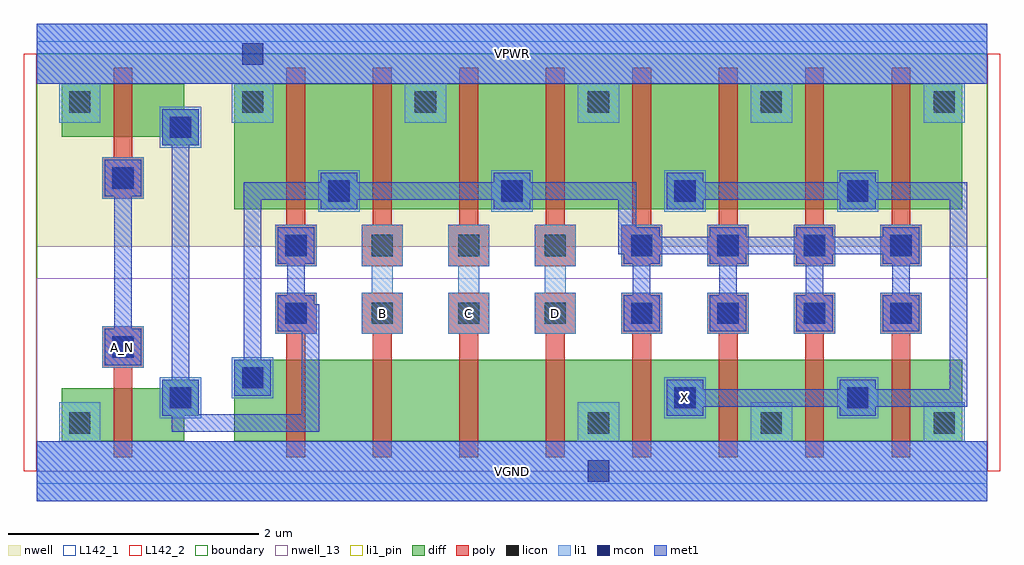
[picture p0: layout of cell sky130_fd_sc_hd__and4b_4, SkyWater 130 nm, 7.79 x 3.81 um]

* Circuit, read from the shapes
.subckt sky130_fd_sc_hd__and4b_4 A_N B C D VGND VPWR X
XM1 n1 A_N VGND VSUBS sky130_fd_pr__nfet_01v8 w=0.42 l=0.15
XM2 n2 n1 n3 VSUBS sky130_fd_pr__nfet_01v8 w=0.65 l=0.15
XM3 n4 B n2 VSUBS sky130_fd_pr__nfet_01v8 w=0.65 l=0.15
XM4 n5 C n4 VSUBS sky130_fd_pr__nfet_01v8 w=0.65 l=0.15
XM5 VGND D n5 VSUBS sky130_fd_pr__nfet_01v8 w=0.65 l=0.15
XM6 X n3 VGND VSUBS sky130_fd_pr__nfet_01v8 w=0.65 l=0.15 m=4
XM7 n1 A_N VPWR n6 sky130_fd_pr__pfet_01v8 w=0.42 l=0.15
XM8 n3 n1 VPWR n6 sky130_fd_pr__pfet_01v8 w=1 l=0.15
XM9 VPWR B n3 n6 sky130_fd_pr__pfet_01v8 w=1 l=0.15
XM10 n3 C VPWR n6 sky130_fd_pr__pfet_01v8 w=1 l=0.15
XM11 VPWR D n3 n6 sky130_fd_pr__pfet_01v8 w=1 l=0.15
XM12 X n3 VPWR n6 sky130_fd_pr__pfet_01v8 w=1 l=0.15 m=4
.ends

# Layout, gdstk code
import gdstk
lib = gdstk.Library(unit=1e-6, precision=1e-09)
def R(c, l, rs):  # rectangles x0, y0, x1, y1
    for r in rs: c.add(gdstk.rectangle(r[:2], r[2:], *l))
def A(c, l, x, y, w, h, nx, ny, dx, dy):  # array of equal rectangles
    R(c, l, [(x+i*dx, y+j*dy, x+i*dx+w, y+j*dy+h) for i in range(nx) for j in range(ny)])
def P(c, l, *ps):  # polygons
    for p in ps: c.add(gdstk.Polygon(p, *l))
nwell_13 = (64, 13)
nwell = (64, 20)
diff = (65, 20)
poly = (66, 20)
licon = (66, 44)
li1_pin = (67, 16)
li1 = (67, 20)
mcon = (67, 44)
met1 = (68, 20)
L142_1 = (142, 1)
L142_2 = (142, 2)
boundary = (235, 4)

sky130_fd_sc_hd__and4b_4 = lib.new_cell('sky130_fd_sc_hd__and4b_4')
R(sky130_fd_sc_hd__and4b_4, nwell_13, [(0,0,7.59,1.54)])
R(sky130_fd_sc_hd__and4b_4, nwell, [(0,1.79,7.59,3.33)])
A(sky130_fd_sc_hd__and4b_4, diff, 1.995, 0.24, 0.69, 0.65, 7, 1, 0.69, 0)
A(sky130_fd_sc_hd__and4b_4, diff, 1.995, 2.09, 0.69, 1, 7, 1, 0.69, 0)
R(sky130_fd_sc_hd__and4b_4, diff, [(0.2,0.24,1.18,0.66), (0.2,0.24,0.615,0.66), (1.58,0.24,7.39,0.89), (1.58,0.24,1.995,0.89), (6.825,0.24,7.39,0.89), (1.58,2.09,7.39,3.09), (1.58,2.09,1.995,3.09), (6.825,2.09,7.39,3.09), (0.2,2.67,1.18,3.09), (0.2,2.67,0.615,3.09)])
P(sky130_fd_sc_hd__and4b_4, diff, [(0.615,0.24),(0.615,0.66),(1.005,0.66),(1.005,0.73),(1.295,0.73),(1.295,0.44),(1.18,0.44),(1.18,0.24)],
  [(1.005,2.6),(1.005,2.67),(0.615,2.67),(0.615,3.09),(1.18,3.09),(1.18,2.89),(1.295,2.89),(1.295,2.6)])
P(sky130_fd_sc_hd__and4b_4, poly, [(2.685,0.11),(2.685,1.095),(2.595,1.095),(2.595,1.425),(2.925,1.425),(2.925,1.095),(2.835,1.095),(2.835,0.11)],
  [(2.595,1.635),(2.595,1.965),(2.685,1.965),(2.685,3.22),(2.835,3.22),(2.835,1.965),(2.925,1.965),(2.925,1.635)],
  [(4.755,0.11),(4.755,1.095),(4.665,1.095),(4.665,1.425),(4.995,1.425),(4.995,1.095),(4.905,1.095),(4.905,0.11)],
  [(5.445,0.11),(5.445,1.095),(5.355,1.095),(5.355,1.425),(5.685,1.425),(5.685,1.095),(5.595,1.095),(5.595,0.11)],
  [(6.135,0.11),(6.135,1.095),(6.045,1.095),(6.045,1.425),(6.375,1.425),(6.375,1.095),(6.285,1.095),(6.285,0.11)],
  [(6.825,0.11),(6.825,1.095),(6.735,1.095),(6.735,1.425),(7.065,1.425),(7.065,1.095),(6.975,1.095),(6.975,0.11)],
  [(4.665,1.635),(4.665,1.965),(4.755,1.965),(4.755,3.22),(4.905,3.22),(4.905,1.965),(4.995,1.965),(4.995,1.635)],
  [(5.355,1.635),(5.355,1.965),(5.445,1.965),(5.445,3.22),(5.595,3.22),(5.595,1.965),(5.685,1.965),(5.685,1.635)],
  [(6.045,1.635),(6.045,1.965),(6.135,1.965),(6.135,3.22),(6.285,3.22),(6.285,1.965),(6.375,1.965),(6.375,1.635)],
  [(6.735,1.635),(6.735,1.965),(6.825,1.965),(6.825,3.22),(6.975,3.22),(6.975,1.965),(7.065,1.965),(7.065,1.635)],
  [(4.065,0.11),(4.065,1.095),(3.975,1.095),(3.975,1.425),(4.305,1.425),(4.305,1.095),(4.215,1.095),(4.215,0.11)],
  [(3.975,1.635),(3.975,1.965),(4.065,1.965),(4.065,3.22),(4.215,3.22),(4.215,1.965),(4.305,1.965),(4.305,1.635)],
  [(0.615,0.11),(0.615,0.825),(0.525,0.825),(0.525,1.155),(0.855,1.155),(0.855,0.825),(0.765,0.825),(0.765,0.11)],
  [(0.525,2.175),(0.525,2.505),(0.615,2.505),(0.615,3.22),(0.765,3.22),(0.765,2.505),(0.855,2.505),(0.855,2.175)],
  [(3.375,0.11),(3.375,1.095),(3.285,1.095),(3.285,1.425),(3.615,1.425),(3.615,1.095),(3.525,1.095),(3.525,0.11)],
  [(3.285,1.635),(3.285,1.965),(3.375,1.965),(3.375,3.22),(3.525,3.22),(3.525,1.965),(3.615,1.965),(3.615,1.635)],
  [(1.995,0.11),(1.995,1.095),(1.905,1.095),(1.905,1.425),(2.235,1.425),(2.235,1.095),(2.145,1.095),(2.145,0.11)],
  [(1.905,1.635),(1.905,1.965),(1.995,1.965),(1.995,3.22),(2.145,3.22),(2.145,1.965),(2.235,1.965),(2.235,1.635)])
A(sky130_fd_sc_hd__and4b_4, licon, 4.4, 0.3, 0.17, 0.17, 3, 1, 1.38, 0)
A(sky130_fd_sc_hd__and4b_4, licon, 1.985, 1.175, 0.17, 0.17, 8, 2, 0.69, 0.54)
A(sky130_fd_sc_hd__and4b_4, licon, 2.33, 2.15, 0.17, 0.17, 4, 1, 1.38, 0)
A(sky130_fd_sc_hd__and4b_4, licon, 0.26, 2.86, 0.17, 0.17, 6, 1, 1.38, 0)
R(sky130_fd_sc_hd__and4b_4, licon, [(0.26,0.3,0.43,0.47), (1.065,0.5,1.235,0.67), (5.09,0.5,5.26,0.67), (6.47,0.5,6.64,0.67), (1.64,0.66,1.81,0.83), (0.605,0.905,0.775,1.075), (0.605,2.255,0.775,2.425), (1.065,2.66,1.235,2.83)])
R(sky130_fd_sc_hd__and4b_4, li1_pin, [(0,-0.24,7.59,0.24), (5.01,0.42,5.34,0.75), (0.525,0.825,0.855,1.155), (0,3.09,7.59,3.57)])
P(sky130_fd_sc_hd__and4b_4, li1_pin, [(2.595,1.095),(2.595,1.425),(2.675,1.425),(2.675,1.635),(2.595,1.635),(2.595,1.965),(2.925,1.965),(2.925,1.635),(2.845,1.635),(2.845,1.425),(2.925,1.425),(2.925,1.095)],
  [(3.285,1.095),(3.285,1.425),(3.365,1.425),(3.365,1.635),(3.285,1.635),(3.285,1.965),(3.615,1.965),(3.615,1.635),(3.535,1.635),(3.535,1.425),(3.615,1.425),(3.615,1.095)],
  [(3.975,1.095),(3.975,1.425),(4.055,1.425),(4.055,1.635),(3.975,1.635),(3.975,1.965),(4.305,1.965),(4.305,1.635),(4.225,1.635),(4.225,1.425),(4.305,1.425),(4.305,1.095)])
A(sky130_fd_sc_hd__and4b_4, li1, 4.665, 1.095, 0.33, 0.33, 4, 2, 0.69, 0.54)
A(sky130_fd_sc_hd__and4b_4, li1, 2.25, 2.07, 0.33, 0.33, 4, 1, 1.38, 0)
R(sky130_fd_sc_hd__and4b_4, li1, [(0.985,0.42,1.315,0.75), (5.01,0.42,5.34,0.75), (6.39,0.42,6.72,0.75), (1.56,0.58,1.89,0.91), (0.525,0.825,0.855,1.155), (1.905,1.095,2.235,1.425), (1.905,1.635,2.235,1.965), (0.525,2.175,0.855,2.505), (0.985,2.58,1.315,2.91)])
P(sky130_fd_sc_hd__and4b_4, li1, [(2.595,1.095),(2.595,1.425),(2.675,1.425),(2.675,1.635),(2.595,1.635),(2.595,1.965),(2.925,1.965),(2.925,1.635),(2.845,1.635),(2.845,1.425),(2.925,1.425),(2.925,1.095)],
  [(3.975,1.095),(3.975,1.425),(4.055,1.425),(4.055,1.635),(3.975,1.635),(3.975,1.965),(4.305,1.965),(4.305,1.635),(4.225,1.635),(4.225,1.425),(4.305,1.425),(4.305,1.095)],
  [(0.18,2.78),(0.18,3.09),(0,3.09),(0,3.57),(7.59,3.57),(7.59,3.09),(7.41,3.09),(7.41,2.78),(7.08,2.78),(7.08,3.09),(6.03,3.09),(6.03,2.78),(5.7,2.78),(5.7,3.09),(4.65,3.09),(4.65,2.78),(4.32,2.78),(4.32,3.09),(3.27,3.09),(3.27,2.78),(2.94,2.78),(2.94,3.09),(1.89,3.09),(1.89,2.78),(1.56,2.78),(1.56,3.09),(0.51,3.09),(0.51,2.78)],
  [(3.285,1.095),(3.285,1.425),(3.365,1.425),(3.365,1.635),(3.285,1.635),(3.285,1.965),(3.615,1.965),(3.615,1.635),(3.535,1.635),(3.535,1.425),(3.615,1.425),(3.615,1.095)],
  [(0,-0.24),(0,0.24),(0.18,0.24),(0.18,0.55),(0.51,0.55),(0.51,0.24),(4.32,0.24),(4.32,0.55),(4.65,0.55),(4.65,0.24),(5.7,0.24),(5.7,0.55),(6.03,0.55),(6.03,0.24),(7.08,0.24),(7.08,0.55),(7.41,0.55),(7.41,0.24),(7.59,0.24),(7.59,-0.24)])
A(sky130_fd_sc_hd__and4b_4, mcon, 4.745, 1.175, 0.17, 0.17, 4, 2, 0.69, 0.54)
A(sky130_fd_sc_hd__and4b_4, mcon, 2.33, 2.15, 0.17, 0.17, 4, 1, 1.38, 0)
R(sky130_fd_sc_hd__and4b_4, mcon, [(4.4,-0.085,4.57,0.085), (1.065,0.5,1.235,0.67), (5.09,0.5,5.26,0.67), (6.47,0.5,6.64,0.67), (1.64,0.66,1.81,0.83), (0.605,0.905,0.775,1.075), (1.985,1.175,2.155,1.345), (1.985,1.715,2.155,1.885), (0.605,2.255,0.775,2.425), (1.065,2.66,1.235,2.83), (1.64,3.245,1.81,3.415)])
R(sky130_fd_sc_hd__and4b_4, met1, [(0,-0.24,7.59,0.24), (0,3.09,7.59,3.57)])
P(sky130_fd_sc_hd__and4b_4, met1, [(1.58,0.6),(1.58,0.89),(1.655,0.89),(1.655,2.305),(2.27,2.305),(2.27,2.38),(2.56,2.38),(2.56,2.305),(3.65,2.305),(3.65,2.38),(3.94,2.38),(3.94,2.305),(4.785,2.305),(4.785,1.945),(4.975,1.945),(4.975,1.87),(5.375,1.87),(5.375,1.945),(5.665,1.945),(5.665,1.87),(6.065,1.87),(6.065,1.945),(6.355,1.945),(6.355,1.87),(6.755,1.87),(6.755,1.945),(7.045,1.945),(7.045,1.655),(6.97,1.655),(6.97,1.405),(7.045,1.405),(7.045,1.115),(6.755,1.115),(6.755,1.405),(6.83,1.405),(6.83,1.655),(6.755,1.655),(6.755,1.73),(6.355,1.73),(6.355,1.655),(6.28,1.655),(6.28,1.405),(6.355,1.405),(6.355,1.115),(6.065,1.115),(6.065,1.405),(6.14,1.405),(6.14,1.655),(6.065,1.655),(6.065,1.73),(5.665,1.73),(5.665,1.655),(5.59,1.655),(5.59,1.405),(5.665,1.405),(5.665,1.115),(5.375,1.115),(5.375,1.405),(5.45,1.405),(5.45,1.655),(5.375,1.655),(5.375,1.73),(4.975,1.73),(4.975,1.655),(4.9,1.655),(4.9,1.405),(4.975,1.405),(4.975,1.115),(4.685,1.115),(4.685,1.405),(4.76,1.405),(4.76,1.655),(4.685,1.655),(4.685,1.73),(4.645,1.73),(4.645,2.165),(3.94,2.165),(3.94,2.09),(3.65,2.09),(3.65,2.165),(2.56,2.165),(2.56,2.09),(2.27,2.09),(2.27,2.165),(1.795,2.165),(1.795,0.89),(1.87,0.89),(1.87,0.6)],
  [(0.545,0.845),(0.545,1.135),(0.62,1.135),(0.62,2.195),(0.545,2.195),(0.545,2.485),(0.835,2.485),(0.835,2.195),(0.76,2.195),(0.76,1.135),(0.835,1.135),(0.835,0.845)],
  [(1.08,0.315),(1.08,0.44),(1.005,0.44),(1.005,0.73),(1.08,0.73),(1.08,2.6),(1.005,2.6),(1.005,2.89),(1.295,2.89),(1.295,2.6),(1.22,2.6),(1.22,0.73),(1.295,0.73),(1.295,0.455),(2.115,0.455),(2.115,1.115),(1.925,1.115),(1.925,1.405),(2,1.405),(2,1.655),(1.925,1.655),(1.925,1.945),(2.215,1.945),(2.215,1.655),(2.14,1.655),(2.14,1.405),(2.215,1.405),(2.215,1.33),(2.255,1.33),(2.255,0.315)],
  [(5.03,0.44),(5.03,0.73),(5.32,0.73),(5.32,0.655),(6.41,0.655),(6.41,0.73),(6.7,0.73),(6.7,0.655),(7.29,0.655),(7.29,2.165),(6.7,2.165),(6.7,2.09),(6.41,2.09),(6.41,2.165),(5.32,2.165),(5.32,2.09),(5.03,2.09),(5.03,2.38),(5.32,2.38),(5.32,2.305),(6.41,2.305),(6.41,2.38),(6.7,2.38),(6.7,2.305),(7.43,2.305),(7.43,0.515),(6.7,0.515),(6.7,0.44),(6.41,0.44),(6.41,0.515),(5.32,0.515),(5.32,0.44)])
R(sky130_fd_sc_hd__and4b_4, L142_1, [(0,-0.1,7.59,0), (0,3.33,7.59,3.43)])
R(sky130_fd_sc_hd__and4b_4, L142_2, [(-0.1,0,0,3.33), (7.59,0,7.69,3.33)])
R(sky130_fd_sc_hd__and4b_4, boundary, [(0,0,7.59,3.33)])
sky130_fd_sc_hd__and4b_4.add(gdstk.Label('X', (5.175,0.585), layer=67, texttype=5))
sky130_fd_sc_hd__and4b_4.add(gdstk.Label('B', (2.76,1.26), layer=67, texttype=5))
sky130_fd_sc_hd__and4b_4.add(gdstk.Label('C', (3.45,1.26), layer=67, texttype=5))
sky130_fd_sc_hd__and4b_4.add(gdstk.Label('A_N', (0.69,0.99), layer=67, texttype=5))
sky130_fd_sc_hd__and4b_4.add(gdstk.Label('D', (4.14,1.26), layer=67, texttype=5))
sky130_fd_sc_hd__and4b_4.add(gdstk.Label('VGND', (3.795,0), layer=67, texttype=5))
sky130_fd_sc_hd__and4b_4.add(gdstk.Label('VPWR', (3.795,3.33), layer=67, texttype=5))
sky130_fd_sc_hd__and4b_4.add(gdstk.Label('VGND', (3.795,0), layer=68, texttype=5))
sky130_fd_sc_hd__and4b_4.add(gdstk.Label('VPWR', (3.795,3.33), layer=68, texttype=5))

lib.write_gds('sky130_fd_sc_hd__and4b_4.gds')
